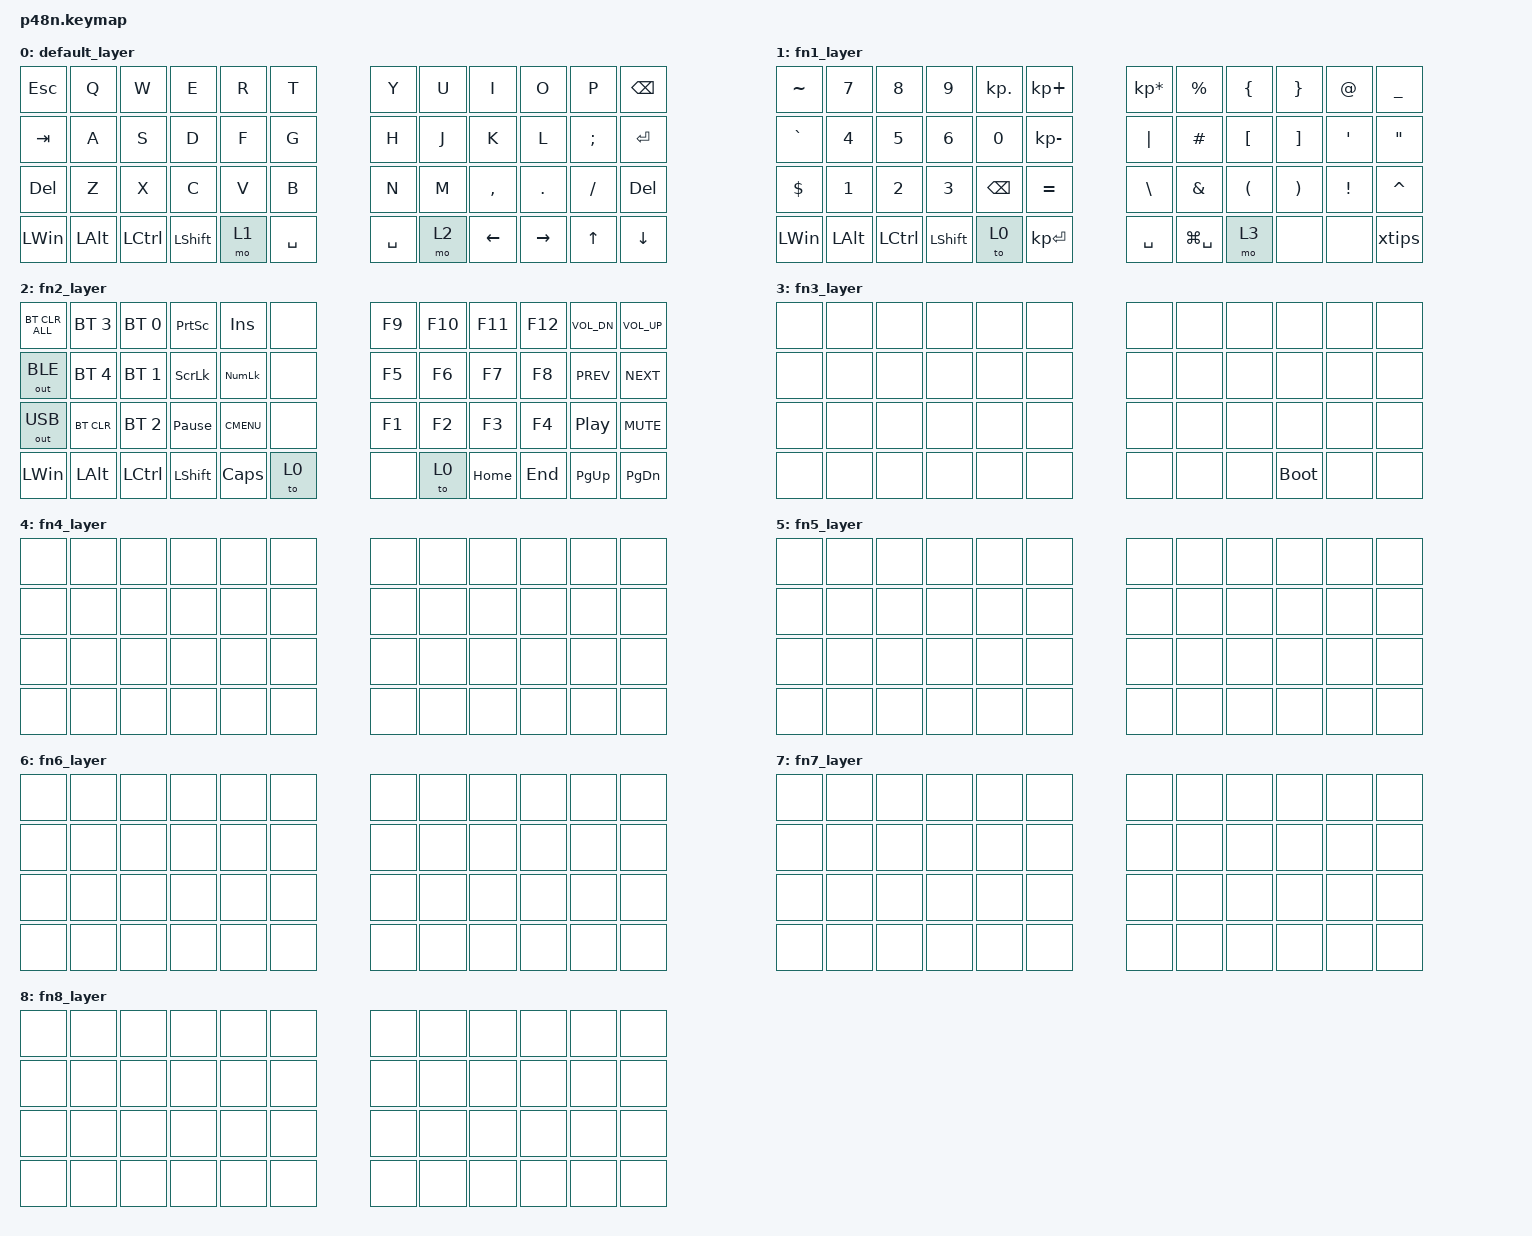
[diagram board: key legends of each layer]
/*
 * Copyright (c) 2020 The ZMK Contributors
 *
 * SPDX-License-Identifier: MIT
 */

#include <behaviors.dtsi>
#include <dt-bindings/zmk/keys.h>
#include <dt-bindings/zmk/rgb.h>
#include <dt-bindings/zmk/bt.h>
#include <dt-bindings/zmk/outputs.h>
#include <dt-bindings/zmk/ext_power.h>
#include <dt-bindings/zmk/mouse.h>

/ {
      macros {
        xtips: xtips {
            compatible = "zmk,behavior-macro";
            label = "XTIPS";
            #binding-cells = <0>;
            bindings = <&kp LS(X) &kp KP_DOT &kp LS(T) &kp I &kp P &kp S>;
            wait-ms = <1>;
            tap-ms = <1>;
        };
      };

	keymap0: keymap {
		compatible = "zmk,keymap";

		default_layer {
            bindings = <
            &kp ESC          &kp Q            &kp W            &kp E            &kp R            &kp T               &kp Y            &kp U            &kp I            &kp O            &kp P            &kp BSPC
            &kp TAB          &kp A            &kp S            &kp D            &kp F            &kp G               &kp H            &kp J            &kp K            &kp L            &kp SEMI         &kp ENTER
            &kp DEL          &kp Z            &kp X            &kp C            &kp V            &kp B               &kp N            &kp M            &kp COMMA        &kp DOT          &kp SLASH        &kp DEL
            &kp LWIN         &kp LALT         &kp LCTRL        &kp LSHFT        &mo 1            &kp SPACE           &kp SPACE        &mo 2            &kp LEFT         &kp RIGHT        &kp UP           &kp DOWN
            >;
		};

		fn1_layer {
            bindings = <
            &kp TILDE        &kp N7           &kp N8           &kp N9           &kp KP_DOT       &kp KP_PLUS         &kp KP_MULTIPLY  &kp PRCNT        &kp LBRC         &kp RBRC         &kp AT           &kp UNDER
            &kp GRAVE        &kp N4           &kp N5           &kp N6           &kp N0           &kp KP_MINUS        &kp PIPE         &kp HASH         &kp LBKT         &kp RBKT         &kp SQT          &kp DQT
            &kp DLLR         &kp N1           &kp N2           &kp N3           &kp BSPC         &kp EQUAL           &kp BSLH         &kp AMPS         &kp LPAR         &kp RPAR         &kp EXCL         &kp CARET
            &kp LWIN         &kp LALT         &kp LCTRL        &kp LSHFT        &to 0            &kp KP_ENTER        &kp SPACE        &kp LG(SPACE)    &mo 3            &none            &none            &xtips
            >;
		};

		fn2_layer {
            bindings = <
            &bt BT_CLR_ALL   &bt BT_SEL 3     &bt BT_SEL 0     &kp PSCRN        &kp INS          &none               &kp F9           &kp F10          &kp F11          &kp F12          &kp C_VOL_DN     &kp C_VOL_UP
            &out OUT_BLE     &bt BT_SEL 4     &bt BT_SEL 1     &kp SLCK         &kp KP_NLCK      &none               &kp F5           &kp F6           &kp F7           &kp F8           &kp C_PREV       &kp C_NEXT
            &out OUT_USB     &bt BT_CLR       &bt BT_SEL 2     &kp PAUSE_BREAK  &kp K_CMENU      &none               &kp F1           &kp F2           &kp F3           &kp F4           &kp C_PP         &kp C_MUTE
            &kp LWIN         &kp LALT         &kp LCTRL        &kp LSHFT        &kp CAPS         &to 0               &none            &to 0            &kp HOME         &kp END          &kp PG_UP        &kp PG_DN
            >;
		};

		fn3_layer {
            bindings = <
            &none            &none            &none            &none            &none            &none               &none            &none            &none            &none            &none            &none
            &none            &none            &none            &none            &none            &none               &none            &none            &none            &none            &none            &none
            &none            &none            &none            &none            &none            &none               &none            &none            &none            &none            &none            &none
            &none            &none            &none            &none            &none            &none               &none            &none            &none            &bootloader      &none            &none
            >;
		};

		fn4_layer {
            bindings = <
            &none            &none            &none            &none            &none            &none               &none            &none            &none            &none            &none            &none
            &none            &none            &none            &none            &none            &none               &none            &none            &none            &none            &none            &none
            &none            &none            &none            &none            &none            &none               &none            &none            &none            &none            &none            &none
            &none            &none            &none            &none            &none            &none               &none            &none            &none            &none            &none            &none
            >;
		};

		fn5_layer {
            bindings = <
            &none            &none            &none            &none            &none            &none               &none            &none            &none            &none            &none            &none
            &none            &none            &none            &none            &none            &none               &none            &none            &none            &none            &none            &none
            &none            &none            &none            &none            &none            &none               &none            &none            &none            &none            &none            &none
            &none            &none            &none            &none            &none            &none               &none            &none            &none            &none            &none            &none
            >;
		};

		fn6_layer {
            bindings = <
            &none            &none            &none            &none            &none            &none               &none            &none            &none            &none            &none            &none
            &none            &none            &none            &none            &none            &none               &none            &none            &none            &none            &none            &none
            &none            &none            &none            &none            &none            &none               &none            &none            &none            &none            &none            &none
            &none            &none            &none            &none            &none            &none               &none            &none            &none            &none            &none            &none
            >;
		};

		fn7_layer {
            bindings = <
            &none            &none            &none            &none            &none            &none               &none            &none            &none            &none            &none            &none
            &none            &none            &none            &none            &none            &none               &none            &none            &none            &none            &none            &none
            &none            &none            &none            &none            &none            &none               &none            &none            &none            &none            &none            &none
            &none            &none            &none            &none            &none            &none               &none            &none            &none            &none            &none            &none
            >;
		};

		fn8_layer {
            bindings = <
            &none            &none            &none            &none            &none            &none               &none            &none            &none            &none            &none            &none
            &none            &none            &none            &none            &none            &none               &none            &none            &none            &none            &none            &none
            &none            &none            &none            &none            &none            &none               &none            &none            &none            &none            &none            &none
            &none            &none            &none            &none            &none            &none               &none            &none            &none            &none            &none            &none
            >;
		};
	};
};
